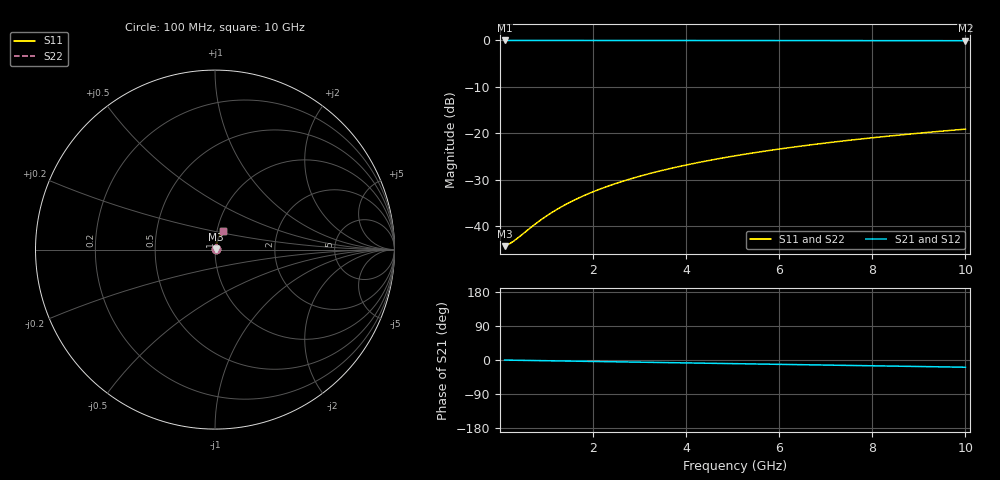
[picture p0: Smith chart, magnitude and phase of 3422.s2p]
# Hz S RI R 50.00
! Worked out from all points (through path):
!   100 points, 100 MHz to 10 GHz, reference 50 ohm
!   highest |S21| = -0.05 dB at 100 MHz (marker M1); lowest = -0.1 dB at 10 GHz (marker M2)
!   group delay of S21, straight-line fit = 5.3 ps
!   lowest |S11| = -44.3 dB at 100 MHz (marker M3), VSWR 1.01, Z = 50.6 + j0.112 ohm
!   |S11| at or under -10 dB: start of sweep to end of sweep
!   |S22| runs from -44.3 to -19.1 dB; largest |S21 - S12| = 0
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1e8  0.00599 0.00111  0.994 -0.00332  0.994 -0.00332  0.00599 0.00111
2e8  0.00604 0.00222  0.9939 -0.00664  0.9939 -0.00664  0.00604 0.00222
3e8  0.00609 0.00333  0.9939 -0.00996  0.9939 -0.00996  0.00609 0.00333
8e8  0.00638 0.00887  0.9934 -0.0265  0.9934 -0.0265  0.00638 0.00887
9e8  0.00645 0.00997  0.9933 -0.0299  0.9933 -0.0299  0.00645 0.00997
1.1e9  0.00663 0.0122  0.9931 -0.0365  0.9931 -0.0365  0.00663 0.0122
1.4e9  0.00693 0.0155  0.9926 -0.0464  0.9926 -0.0464  0.00693 0.0155
1.6e9  0.00717 0.0177  0.9922 -0.0531  0.9922 -0.0531  0.00717 0.0177
1.8e9  0.00744 0.0199  0.9917 -0.0597  0.9917 -0.0597  0.00744 0.0199
2.1e9  0.0079 0.0232  0.991 -0.0696  0.991 -0.0696  0.0079 0.0232
2.5e9  0.00861 0.0276  0.9898 -0.0828  0.9898 -0.0828  0.00861 0.0276
2.9e9  0.00943 0.0319  0.9884 -0.096  0.9884 -0.096  0.00943 0.0319
3.4e9  0.0106 0.0373  0.9865 -0.1124  0.9865 -0.1124  0.0106 0.0373
3.8e9  0.0117 0.0416  0.9847 -0.1256  0.9847 -0.1256  0.0117 0.0416
4.2e9  0.0129 0.0459  0.9827 -0.1387  0.9827 -0.1387  0.0129 0.0459
4.6e9  0.0142 0.0501  0.9805 -0.1517  0.9805 -0.1517  0.0142 0.0501
5.1e9  0.016 0.0553  0.9775 -0.168  0.9775 -0.168  0.016 0.0553
5.9e9  0.0192 0.0636  0.9721 -0.1938  0.9721 -0.1938  0.0192 0.0636
6.7e9  0.0229 0.0716  0.966 -0.2195  0.966 -0.2195  0.0229 0.0716
7.5e9  0.0269 0.0794  0.9591 -0.2449  0.9591 -0.2449  0.0269 0.0794
8.4e9  0.032 0.0879  0.9505 -0.2732  0.9505 -0.2732  0.032 0.0879
1e10  0.0422 0.1022  0.933 -0.3225  0.933 -0.3225  0.0422 0.1022
